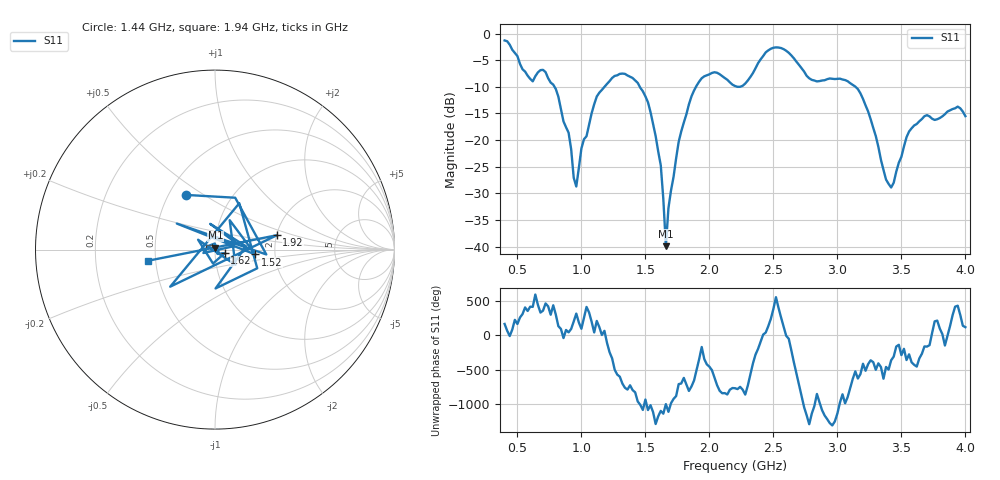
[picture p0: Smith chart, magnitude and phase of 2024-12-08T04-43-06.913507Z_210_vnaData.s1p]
!Created with skrf (http://scikit-rf.org).
# Hz S RI R 50.0
!freq ReS11 ImS11
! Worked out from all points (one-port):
!   181 points, 400 MHz to 4 GHz, reference 50 ohm
!   lowest |S11| = -39.9 dB at 1.66 GHz (marker M1), VSWR 1.02, Z = 50.2 + j0.997 ohm
!   |S11| at or under -10 dB: 789.9 MHz to 1.18 GHz (390.4 MHz wide, 39.6 % of centre); 1.456 GHz to 1.895 GHz (439.1 MHz wide, 26.2 % of centre); 3.141 GHz to end of sweep (the widest 3 of 4)
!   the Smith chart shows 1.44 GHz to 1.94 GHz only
!   S11 on the Smith chart (normalised r, x): 1.44 GHz: 0.61, +0.42; 1.52 GHz: 1.58, -0.09; 1.62 GHz: 1.12, -0.04; 1.92 GHz: 2.01, +0.37; 1.94 GHz: 0.45, -0.07
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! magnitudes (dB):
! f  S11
! 400 MHz  -1.3
! 620 MHz  -9.0
! 720 MHz  -7.2
! 800 MHz  -10.4
! 860 MHz  -16.5
! 900 MHz  -18.6
! 960 MHz  -28.7
! 1 GHz  -21.6
! 1.12 GHz  -11.8
! 1.3 GHz  -7.6
! 1.44 GHz  -9.3
! 1.52 GHz  -12.9
! 1.62 GHz  -24.7
! 1.66 GHz  -39.9
! 1.68 GHz  -32.8
! 1.76 GHz  -20.3
! 1.92 GHz  -9.0
! 1.94 GHz  -8.4
! 2.2 GHz  -9.9
! 2.48 GHz  -2.9
! 2.66 GHz  -4.7
! 2.8 GHz  -8.7
! 3.1 GHz  -9.3
! 3.24 GHz  -14.6
! 3.42 GHz  -28.9
! 3.56 GHz  -18.4
! 3.94 GHz  -13.7
! 4 GHz  -15.5
